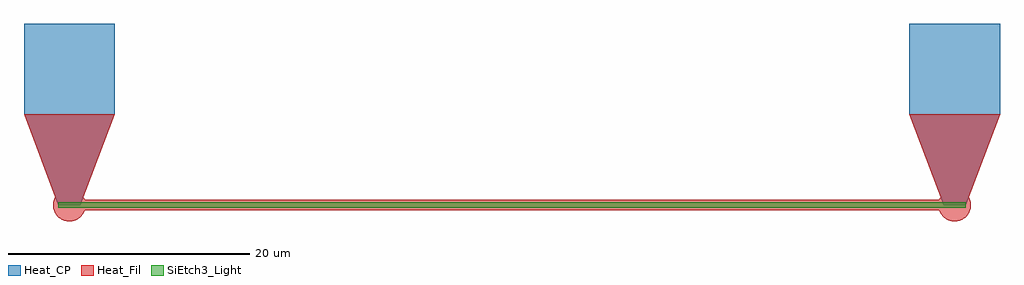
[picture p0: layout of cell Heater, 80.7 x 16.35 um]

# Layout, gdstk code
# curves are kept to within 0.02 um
import gdstk
lib = gdstk.Library(unit=1e-6, precision=1e-09)
def R(c, l, rs):  # rectangles x0, y0, x1, y1
    for r in rs: c.add(gdstk.rectangle(r[:2], r[2:], *l))
def P(c, l, *ps):  # polygons
    for p in ps: c.add(gdstk.Polygon(p, *l))
SiEtch3_Light = (3, 0)
Heat_Fil = (39, 0)
Heat_CP = (41, 0)

heater = lib.new_cell('Heater')
R(heater, SiEtch3_Light, [(0,-0.225,75,0.225)])
R(heater, Heat_Fil, [(0,-0.45,75,0.45)])
P(heater, Heat_Fil, [(0.9,-1.35),(0.608,-1.318),(0.383,-1.247),(0.175,-1.139),(-0.055,-0.955),(-0.239,-0.725),(-0.347,-0.517),(-0.418,-0.292),(-0.45,0),(-0.418,0.292),(-0.347,0.517),(-0.239,0.725),(-0.055,0.955),(0.175,1.139),(0.383,1.247),(0.608,1.318),(0.9,1.35),(1.192,1.318),(1.417,1.247),(1.625,1.139),(1.855,0.955),(2.039,0.725),(2.147,0.517),(2.218,0.292),(2.25,0),(2.218,-0.292),(2.147,-0.517),(2.039,-0.725),(1.855,-0.955),(1.625,-1.139),(1.417,-1.247),(1.192,-1.318)],
  [(74.1,-1.35),(73.808,-1.318),(73.583,-1.247),(73.375,-1.139),(73.145,-0.955),(72.961,-0.725),(72.853,-0.517),(72.782,-0.292),(72.75,0),(72.782,0.292),(72.853,0.517),(72.961,0.725),(73.145,0.955),(73.375,1.139),(73.583,1.247),(73.808,1.318),(74.1,1.35),(74.392,1.318),(74.617,1.247),(74.825,1.139),(75.055,0.955),(75.239,0.725),(75.347,0.517),(75.418,0.292),(75.45,0),(75.418,-0.292),(75.347,-0.517),(75.239,-0.725),(75.055,-0.955),(74.825,-1.139),(74.617,-1.247),(74.392,-1.318)],
  [(0,0),(-2.85,7.5),(4.65,7.5),(1.8,0)],
  [(73.2,0),(70.35,7.5),(77.85,7.5),(75,0)])
R(heater, Heat_CP, [(-2.85,7.5,4.65,15), (70.35,7.5,77.85,15)])
P(heater, Heat_CP, [(0,0),(-2.85,7.5),(4.65,7.5),(1.8,0)],
  [(73.2,0),(70.35,7.5),(77.85,7.5),(75,0)])

lib.write_gds('Heater.gds')
